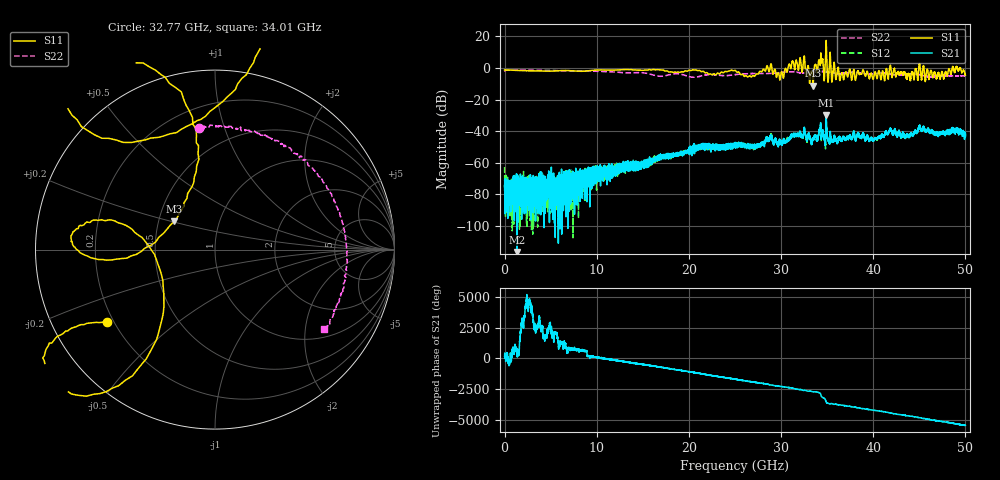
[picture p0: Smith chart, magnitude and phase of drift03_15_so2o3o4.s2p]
!Created with skrf (http://scikit-rf.org).
# Hz S RI R 50.0
!freq ReS11 ImS11 ReS21 ImS21 ReS12 ImS12 ReS22 ImS22
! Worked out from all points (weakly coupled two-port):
!   10001 points, 300 kHz to 50 GHz, reference 50 ohm
!   highest |S21| = -29.74 dB at 34.9 GHz (marker M1); lowest = -116.4 dB at 1.32 GHz (marker M2)
!   lowest |S11| = -11.2 dB at 33.47 GHz (marker M3), VSWR 1.76, Z = 30.2 + j10.3 ohm
!   |S11| at or under -10 dB: 33.4461 GHz to 33.48654 GHz (40.44 MHz wide, 0.121 % of centre)
!   |S22| runs from -5.9 to -1.3 dB; largest |S21 - S12| = 0.0077
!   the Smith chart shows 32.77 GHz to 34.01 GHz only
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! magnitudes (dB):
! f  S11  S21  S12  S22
! 300 kHz  -1.3  -75.2  -62.7  -2.0
! 265.3 MHz  -1.3  -76.3  -75.3  -1.4
! 1.32 GHz  -1.6  -116.4  -81.7  -1.4
! 5.63 GHz  -1.9  -80.6  -78.2  -1.7
! 8.335 GHz  -2.2  -68.6  -75.4  -1.9
! 16.67 GHz  -1.1  -57.0  -57.6  -5.2
! 25 GHz  -1.5  -48.8  -48.4  -4.3
! 26.92 GHz  -4.9  -49.3  -49.3  -3.6
! 28.73 GHz  -2.3  -45.9  -45.5  -3.5
! 30.06 GHz  -2.5  -47.3  -48.4  -2.9
! 31.87 GHz  -1.5  -42.2  -41.9  -2.9
! 33.34 GHz  -2.2  -47.9  -47.3  -2.9
! 33.47 GHz  -11.2  -44.2  -44.4  -2.8
! 34.29 GHz  6.0  -34.9  -35.0  -2.3
! 34.9 GHz  17.3  -29.7  -30.8  -2.4
! 36.58 GHz  -3.4  -46.2  -45.9  -3.6
! 40.16 GHz  -2.9  -44.4  -44.3  -3.7
! 41.67 GHz  -5.8  -40.9  -40.3  -3.7
! 45.2 GHz  -5.5  -38.3  -39.0  -4.4
! 47.07 GHz  -3.1  -41.8  -42.5  -5.0
! 49.22 GHz  -1.9  -40.6  -39.6  -5.2
! 50 GHz  -4.5  -42.1  -42.8  -5.0
